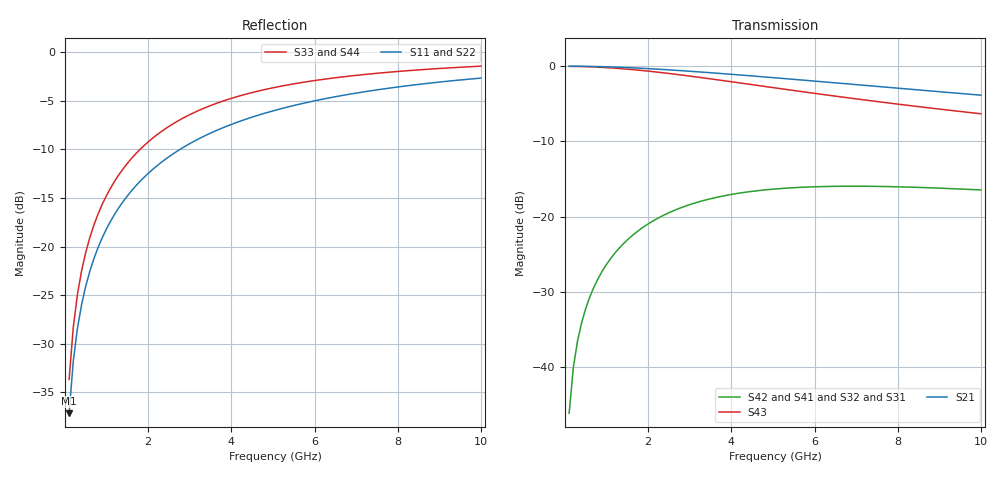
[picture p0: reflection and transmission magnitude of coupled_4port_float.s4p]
! Synthetic 4-port coupled coils, fully floating (singular Y)
! Two magnetically coupled coils, Z_loop = [[R1+jwL1, jwM], [jwM, R2+jwL2]]
! R1 = 0.6 Ohm
! R2 = 0.9 Ohm
! L1 = 2e-09 H
! L2 = 3e-09 H
! M  = 8e-10 H
! k  = M / sqrt(L1*L2) = 0.3265986323710904
! C_shunt_each_terminal = 0.0 F
! Wiring: coil1 between port1(+) and port2(-), coil2 between port3(+) and port4(-); no shunt C -> Y is singular
! Values above are exact by construction; see tests/generate_test_snp.py.
! Port[1] = c1_p
! Port[2] = c1_n
! Port[3] = c2_p
! Port[4] = c2_n
# HZ S RI R 50
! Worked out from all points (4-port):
!   100 points, 100 MHz to 10 GHz, reference 50 ohm
!   strongest paths, dB at 100 MHz, 2.6 GHz, 5.1 GHz, 7.6 GHz, 10 GHz:
!     S21: -0.1, -0.6, -1.6, -2.8, -3.9
!     S43: -0.1, -1.1, -3.0, -4.8, -6.4
!     S42: -46.1, -19.3, -16.3, -16.0, -16.5
!     S41: -46.1, -19.3, -16.3, -16.0, -16.5
!     S32: -46.1, -19.3, -16.3, -16.0, -16.5
!     S31: -46.1, -19.3, -16.3, -16.0, -16.5
!   lowest |S11| = -37.2 dB at 100 MHz (marker M1), VSWR 1.03, Z = 50.6 + j1.26 ohm
!   |S11| at or under -10 dB: start of sweep to 2.765 GHz
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1e8  0.00614 0.0124  0.9939 -0.0124  0.000154 0.00495  -0.000154 -0.00495
     0.9939 -0.0124  0.00614 0.0124  -0.000154 -0.00495  0.000154 0.00495
     0.000154 0.00495  -0.000154 -0.00495  0.00929 0.0185  0.9907 -0.0185
     -0.000154 -0.00495  0.000154 0.00495  0.9907 -0.0185  0.00929 0.0185
3e8  0.00758 0.0372  0.9924 -0.0372  0.00138 0.0148  -0.00138 -0.0148
     0.9924 -0.0372  0.00758 0.0372  -0.00138 -0.0148  0.00138 0.0148
     0.00138 0.0148  -0.00138 -0.0148  0.0122 0.0553  0.9878 -0.0553
     -0.00138 -0.0148  0.00138 0.0148  0.9878 -0.0553  0.0122 0.0553
7e8  0.0146 0.0859  0.9854 -0.0859  0.00736 0.0334  -0.00736 -0.0334
     0.9854 -0.0859  0.0146 0.0859  -0.00736 -0.0334  0.00736 0.0334
     0.00736 0.0334  -0.00736 -0.0334  0.0267 0.127  0.9733 -0.127
     -0.00736 -0.0334  0.00736 0.0334  0.9733 -0.127  0.0267 0.127
1.3e9  0.0348 0.1552  0.9652 -0.1552  0.0238 0.0567  -0.0238 -0.0567
       0.9652 -0.1552  0.0348 0.1552  -0.0238 -0.0567  0.0238 0.0567
       0.0238 0.0567  -0.0238 -0.0567  0.0672 0.225  0.9328 -0.225
       -0.0238 -0.0567  0.0238 0.0567  0.9328 -0.225  0.0672 0.225
2.2e9  0.082 0.2459  0.918 -0.2459  0.0584 0.0766  -0.0584 -0.0766
       0.918 -0.2459  0.082 0.2459  -0.0584 -0.0766  0.0584 0.0766
       0.0584 0.0766  -0.0584 -0.0766  0.1571 0.34  0.8429 -0.34
       -0.0584 -0.0766  0.0584 0.0766  0.8429 -0.34  0.1571 0.34
5e9  0.2766 0.4155  0.7234 -0.4155  0.1452 0.0446  -0.1452 -0.0446
     0.7234 -0.4155  0.2766 0.4155  -0.1452 -0.0446  0.1452 0.0446
     0.1452 0.0446  -0.1452 -0.0446  0.4586 0.4695  0.5414 -0.4695
     -0.1452 -0.0446  0.1452 0.0446  0.5414 -0.4695  0.4586 0.4695
1e10  0.5676 0.4693  0.4324 -0.4693  0.1417 -0.0493  -0.1417 0.0493
      0.4324 -0.4693  0.5676 0.4693  -0.1417 0.0493  0.1417 -0.0493
      0.1417 -0.0493  -0.1417 0.0493  0.7444 0.4069  0.2556 -0.4069
      -0.1417 0.0493  0.1417 -0.0493  0.2556 -0.4069  0.7444 0.4069
